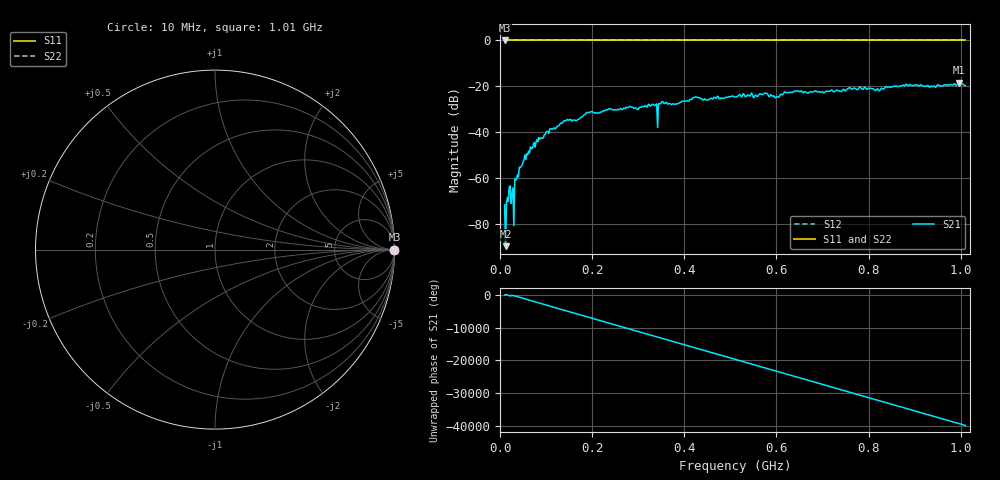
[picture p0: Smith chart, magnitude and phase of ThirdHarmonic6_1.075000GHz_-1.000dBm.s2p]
! 8/16/2025 9:48:30 AM
! C:\ANRITSUVNA\TEMP\TEMP.S2P
! CHANNEL.1
! TR.MEASUREMENT
! RAW.DATA
! RF.CORRECTION.OFF
! AVERAGING.OFF
! IF.BANDWIDTH: 5KHZ
! SWEEPTYPE:  FREQ.SWEEP(Linear)
! Reference Plane Port Info
! PORT:  PORT1  PORT2
! DISTANCE:  0  m  0  m
! TIME:  0  s  0  s
! PHASE.OFFSET:  0  deg.  0  deg.
! LOSS:  0  dB  0  dB
! REF.LOSS:  0  dB  0  dB
! REF.FREQ:  0  Hz  0  Hz
! Power Info
! POWER:  -20  dBm  -20  dBm
! EFF.POWER:  -20  dBm  -20  dBm
! SOURCE.ATTEN:  0  dB  0  dB
! TEST.ATTEN:  0  dB  0  dB
# GHZ S RI R 50.0
! FREQ.GHZ  S11RE  S11IM  S21RE  S21IM  S12RE  S12IM  S22RE  S22IM
!; PortSelection: Port_12
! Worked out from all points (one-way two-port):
!   501 points, 10 MHz to 1.01 GHz, reference 50 ohm
!   highest |S21| = -18.36 dB at 996 MHz (marker M1); lowest = -89.8 dB at 12 MHz (marker M2)
!   lowest |S11| = 0.0 dB at 10 MHz (marker M3)
!   |S11| at or under -10 dB: nowhere
!   |S22| runs from 0.0 to 0.0 dB; largest |S21 - S12| = 1.1
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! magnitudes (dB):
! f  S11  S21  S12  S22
! 10 MHz  0.0  -71.8  0.0  0.0
! 12 MHz  0.0  -89.8  0.0  0.0
! 18 MHz  0.0  -70.3  0.0  0.0
! 24 MHz  0.0  -71.1  0.0  0.0
! 26 MHz  0.0  -67.0  0.0  0.0
! 28 MHz  0.0  -64.4  0.0  0.0
! 34 MHz  0.0  -61.0  0.0  0.0
! 36 MHz  0.0  -60.6  0.0  0.0
! 46 MHz  0.0  -55.0  0.0  0.0
! 70 MHz  0.0  -47.1  0.0  0.0
! 142 MHz  0.0  -35.1  0.0  0.0
! 178 MHz  0.0  -33.4  0.0  0.0
! 278 MHz  0.0  -29.4  0.0  0.0
! 336 MHz  0.0  -28.5  0.0  0.0
! 344 MHz  0.0  -27.7  0.0  0.0
! 350 MHz  0.0  -27.2  0.0  0.0
! 422 MHz  0.0  -25.0  0.0  0.0
! 510 MHz  0.0  -24.7  0.0  0.0
! 678 MHz  0.0  -22.5  0.0  0.0
! 844 MHz  0.0  -20.3  0.0  0.0
! 996 MHz  0.0  -18.4  0.0  0.0
! 1.01 GHz  0.0  -19.7  0.0  0.0
